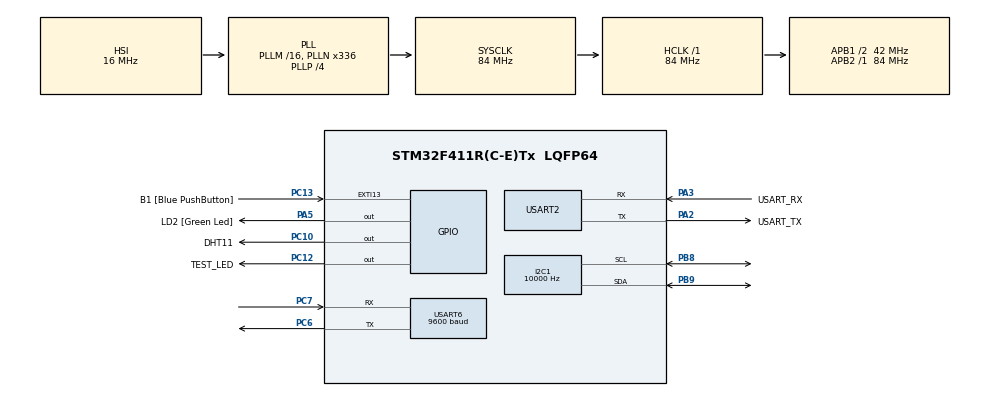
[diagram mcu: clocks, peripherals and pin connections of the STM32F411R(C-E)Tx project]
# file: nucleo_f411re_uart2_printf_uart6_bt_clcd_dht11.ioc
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I2C1.ClockSpeed=10000
Mcu.Family=STM32F4
Mcu.Name=STM32F411R(C-E)Tx
Mcu.Package=LQFP64
NVIC.PriorityGroup=NVIC_PRIORITYGROUP_0
NVIC.USART2_IRQn=true\:0\:0\:false\:false\:true\:true\:true\:true
NVIC.USART6_IRQn=true\:0\:0\:false\:false\:true\:true\:true\:true
PA13.GPIO_Label=TMS
PA13.Mode=Serial_Wire
PA13.Signal=SYS_JTMS-SWDIO
PA14.GPIO_Label=TCK
PA14.Mode=Serial_Wire
PA14.Signal=SYS_JTCK-SWCLK
PA2.GPIO_Label=USART_TX
PA2.Mode=Asynchronous
PA2.Signal=USART2_TX
PA3.GPIO_Label=USART_RX
PA3.Mode=Asynchronous
PA3.Signal=USART2_RX
PA5.GPIO_Label=LD2 [Green Led]
PA5.Signal=GPIO_Output
PB3.GPIO_Label=SWO
PB3.Signal=SYS_JTDO-SWO
PB8.Mode=I2C
PB8.Signal=I2C1_SCL
PB9.Mode=I2C
PB9.Signal=I2C1_SDA
PC10.GPIO_Label=DHT11
PC10.Signal=GPIO_Output
PC12.GPIO_Label=TEST_LED
PC12.Signal=GPIO_Output
PC13-ANTI_TAMP.GPIO_Label=B1 [Blue PushButton]
PC13-ANTI_TAMP.GPIO_ModeDefaultEXTI=GPIO_MODE_IT_FALLING
PC13-ANTI_TAMP.Signal=GPXTI13
PC14-OSC32_IN.Signal=RCC_OSC32_IN
PC15-OSC32_OUT.Signal=RCC_OSC32_OUT
PC6.Mode=Asynchronous
PC6.Signal=USART6_TX
PC7.Mode=Asynchronous
PC7.Signal=USART6_RX
PH0\ -\ OSC_IN.Signal=RCC_OSC_IN
PH1\ -\ OSC_OUT.Signal=RCC_OSC_OUT
ProjectManager.HeapSize=0x200
ProjectManager.StackSize=0x400
ProjectManager.TargetToolchain=STM32CubeIDE
RCC.48MHZClocksFreq_Value=84000000
RCC.AHBFreq_Value=84000000
RCC.APB1CLKDivider=RCC_HCLK_DIV2
RCC.APB1Freq_Value=42000000
RCC.APB1TimFreq_Value=84000000
RCC.APB2Freq_Value=84000000
RCC.APB2TimFreq_Value=84000000
RCC.CortexFreq_Value=84000000
RCC.FLatency-AdvancedSettings=FLASH_LATENCY_2
RCC.HCLKFreq_Value=84000000
RCC.HSE_VALUE=8000000
RCC.HSI_VALUE=16000000
RCC.LSE_VALUE=32768
RCC.PLLN=336
RCC.PLLP=RCC_PLLP_DIV4
RCC.SYSCLKFreq_VALUE=84000000
RCC.SYSCLKSource=RCC_SYSCLKSOURCE_PLLCLK
RCC.VCOOutputFreq_Value=336000000
TIM3.Period=1000-1
TIM3.Prescaler=84-1
USART2.VirtualMode=VM_ASYNC
USART6.BaudRate=9600
USART6.VirtualMode=VM_ASYNC
VP_TIM3_VS_ClockSourceINT.Mode=Internal
board=NUCLEO-F411RE

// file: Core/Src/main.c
/* USER CODE BEGIN Header */
/**
  ******************************************************************************
  * @file           : main.c
  * @brief          : Main program body
  ******************************************************************************
  * @attention
  *
  * Copyright (c) 2024 STMicroelectronics.
  * All rights reserved.
  *
  * This software is licensed under terms that can be found in the LICENSE file
  * in the root directory of this software component.
  * If no LICENSE file comes with this software, it is provided AS-IS.
  *
  ******************************************************************************
  */
/* USER CODE END Header */
#include "main.h"

/* USER CODE BEGIN Includes */
#include <stdio.h>
#include <string.h>
#include "dht.h"
#include "clcd.h"
/* USER CODE END Includes */

/* USER CODE BEGIN PD */
#ifdef __GNUC__
/* With GCC, small printf (option LD Linker->Libraries->Small printf
   set to 'Yes') calls __io_putchar() */
#define PUTCHAR_PROTOTYPE int __io_putchar(int ch)
#else
#define PUTCHAR_PROTOTYPE int fputc(int ch, FILE *f)
#endif /* __GNUC__ */
#define ARR_CNT 5
#define CMD_SIZE 50
/* USER CODE END PD */

I2C_HandleTypeDef hi2c1;

TIM_HandleTypeDef htim3;

UART_HandleTypeDef huart2;
UART_HandleTypeDef huart6;

/* USER CODE BEGIN PV */
uint8_t rx2char;
volatile unsigned char rx2Flag = 0;
volatile char rx2Data[50];
volatile unsigned char btFlag = 0;
uint8_t btchar;
char btData[50];

volatile int time3SecFlag = 0;
volatile unsigned int time3SecCnt;
volatile unsigned int time3Cnt = 0;
volatile int time3CntFlag = 1;
/* USER CODE END PV */

void SystemClock_Config(void);
static void MX_GPIO_Init(void);
static void MX_USART2_UART_Init(void);
static void MX_USART6_UART_Init(void);
static void MX_I2C1_Init(void);
static void MX_TIM3_Init(void);
/* USER CODE BEGIN PFP */
void bluetooth_Event();
/* USER CODE END PFP */

int main(void)
{

  /* MCU Configuration--------------------------------------------------------*/

  /* Reset of all peripherals, Initializes the Flash interface and the Systick. */
  HAL_Init();

  /* Configure the system clock */
  SystemClock_Config();

  /* Initialize all configured peripherals */
  MX_GPIO_Init();
  MX_USART2_UART_Init();
  MX_USART6_UART_Init();
  MX_I2C1_Init();
  MX_TIM3_Init();
  /* USER CODE BEGIN 2 */
  HAL_UART_Receive_IT(&huart2, &rx2char,1);
  HAL_UART_Receive_IT(&huart6, &btchar,1);
  DHT11_Init();
  LCD_init(&hi2c1);

  DHT11_TypeDef dht11Data;
  char buff[30];

  printf("start main() dht\r\n");
  LCD_writeStringXY(0, 0, "hello lcd");

//  char buf[10] = "Hello\r";

  if(HAL_TIM_Base_Start_IT(&htim3) != HAL_OK)
	  Error_Handler();

  /* USER CODE END 2 */

  /* Infinite loop */
  /* USER CODE BEGIN WHILE */
  while (1)
  {
	  if(rx2Flag)
	  {
			printf("recv2 : %s\r\n",rx2Data);
			rx2Flag =0;
	//	    HAL_UART_Transmit(&huart6, (uint8_t *)buf, strlen(buf), 0xFFFF);
	  }
	  if(btFlag)
	  {
//		printf("bt : %s\r\n",btData);
			btFlag =0;
			bluetooth_Event();
	  }
#if 1
	  dht11Data = DHT11_readData();
	  sprintf(buff,"h: %d%% t: %d.%d'C", dht11Data.rh_byte1, dht11Data.temp_byte1, dht11Data.temp_byte2);
	  printf("%s\r\n", buff);
	  LCD_writeStringXY(1, 0, buff);
	  HAL_Delay(2000);
#endif

#if 0 //타이머 이용. 1초 마다
	  if(time3CntFlag && !(time3Cnt % 1000)) 	//1000ms 마다
	  {
//		  HAL_GPIO_TogglePin(LD2_GPIO_Port, LD2_Pin);
		  time3SecFlag = 0;
		  printf("time3SecCnt : %d \r\n", time3SecCnt);

		  dht11Data = DHT11_readData();
		  sprintf(buff,"h: %d%% t: %d.%d'C", dht11Data.rh_byte1, dht11Data.temp_byte1, dht11Data.temp_byte2);
		  printf("%s\r\n", buff);
		  LCD_writeStringXY(1, 0, buff);
		  HAL_Delay(2000);
	  }
#endif

//	  HAL_GPIO_TogglePin(GPIOC, GPIO_PIN_13);
//	  HAL_Delay(500);

    /* USER CODE END WHILE */

  }
}

void SystemClock_Config(void)
{
  RCC_OscInitTypeDef RCC_OscInitStruct = {0};
  RCC_ClkInitTypeDef RCC_ClkInitStruct = {0};

  /** Configure the main internal regulator output voltage
  */
  __HAL_RCC_PWR_CLK_ENABLE();
  __HAL_PWR_VOLTAGESCALING_CONFIG(PWR_REGULATOR_VOLTAGE_SCALE1);

  /** Initializes the RCC Oscillators according to the specified parameters
  * in the RCC_OscInitTypeDef structure.
  */
  RCC_OscInitStruct.OscillatorType = RCC_OSCILLATORTYPE_HSI;
  RCC_OscInitStruct.HSIState = RCC_HSI_ON;
  RCC_OscInitStruct.HSICalibrationValue = RCC_HSICALIBRATION_DEFAULT;
  RCC_OscInitStruct.PLL.PLLState = RCC_PLL_ON;
  RCC_OscInitStruct.PLL.PLLSource = RCC_PLLSOURCE_HSI;
  RCC_OscInitStruct.PLL.PLLM = 16;
  RCC_OscInitStruct.PLL.PLLN = 336;
  RCC_OscInitStruct.PLL.PLLP = RCC_PLLP_DIV4;
  RCC_OscInitStruct.PLL.PLLQ = 4;
  if (HAL_RCC_OscConfig(&RCC_OscInitStruct) != HAL_OK)
  {
    Error_Handler();
  }

  /** Initializes the CPU, AHB and APB buses clocks
  */
  RCC_ClkInitStruct.ClockType = RCC_CLOCKTYPE_HCLK|RCC_CLOCKTYPE_SYSCLK
                              |RCC_CLOCKTYPE_PCLK1|RCC_CLOCKTYPE_PCLK2;
  RCC_ClkInitStruct.SYSCLKSource = RCC_SYSCLKSOURCE_PLLCLK;
  RCC_ClkInitStruct.AHBCLKDivider = RCC_SYSCLK_DIV1;
  RCC_ClkInitStruct.APB1CLKDivider = RCC_HCLK_DIV2;
  RCC_ClkInitStruct.APB2CLKDivider = RCC_HCLK_DIV1;

  if (HAL_RCC_ClockConfig(&RCC_ClkInitStruct, FLASH_LATENCY_2) != HAL_OK)
  {
    Error_Handler();
  }
}

static void MX_I2C1_Init(void)
{

  hi2c1.Instance = I2C1;
  hi2c1.Init.ClockSpeed = 10000;
  hi2c1.Init.DutyCycle = I2C_DUTYCYCLE_2;
  hi2c1.Init.OwnAddress1 = 0;
  hi2c1.Init.AddressingMode = I2C_ADDRESSINGMODE_7BIT;
  hi2c1.Init.DualAddressMode = I2C_DUALADDRESS_DISABLE;
  hi2c1.Init.OwnAddress2 = 0;
  hi2c1.Init.GeneralCallMode = I2C_GENERALCALL_DISABLE;
  hi2c1.Init.NoStretchMode = I2C_NOSTRETCH_DISABLE;
  if (HAL_I2C_Init(&hi2c1) != HAL_OK)
  {
    Error_Handler();
  }

}

static void MX_TIM3_Init(void)
{

  TIM_ClockConfigTypeDef sClockSourceConfig = {0};
  TIM_MasterConfigTypeDef sMasterConfig = {0};

  htim3.Instance = TIM3;
  htim3.Init.Prescaler = 84-1;
  htim3.Init.CounterMode = TIM_COUNTERMODE_UP;
  htim3.Init.Period = 1000-1;
  htim3.Init.ClockDivision = TIM_CLOCKDIVISION_DIV1;
  htim3.Init.AutoReloadPreload = TIM_AUTORELOAD_PRELOAD_DISABLE;
  if (HAL_TIM_Base_Init(&htim3) != HAL_OK)
  {
    Error_Handler();
  }
  sClockSourceConfig.ClockSource = TIM_CLOCKSOURCE_INTERNAL;
  if (HAL_TIM_ConfigClockSource(&htim3, &sClockSourceConfig) != HAL_OK)
  {
    Error_Handler();
  }
  sMasterConfig.MasterOutputTrigger = TIM_TRGO_RESET;
  sMasterConfig.MasterSlaveMode = TIM_MASTERSLAVEMODE_DISABLE;
  if (HAL_TIMEx_MasterConfigSynchronization(&htim3, &sMasterConfig) != HAL_OK)
  {
    Error_Handler();
  }

}

static void MX_USART2_UART_Init(void)
{

  huart2.Instance = USART2;
  huart2.Init.BaudRate = 115200;
  huart2.Init.WordLength = UART_WORDLENGTH_8B;
  huart2.Init.StopBits = UART_STOPBITS_1;
  huart2.Init.Parity = UART_PARITY_NONE;
  huart2.Init.Mode = UART_MODE_TX_RX;
  huart2.Init.HwFlowCtl = UART_HWCONTROL_NONE;
  huart2.Init.OverSampling = UART_OVERSAMPLING_16;
  if (HAL_UART_Init(&huart2) != HAL_OK)
  {
    Error_Handler();
  }

}

static void MX_USART6_UART_Init(void)
{

  huart6.Instance = USART6;
  huart6.Init.BaudRate = 9600;
  huart6.Init.WordLength = UART_WORDLENGTH_8B;
  huart6.Init.StopBits = UART_STOPBITS_1;
  huart6.Init.Parity = UART_PARITY_NONE;
  huart6.Init.Mode = UART_MODE_TX_RX;
  huart6.Init.HwFlowCtl = UART_HWCONTROL_NONE;
  huart6.Init.OverSampling = UART_OVERSAMPLING_16;
  if (HAL_UART_Init(&huart6) != HAL_OK)
  {
    Error_Handler();
  }

}

static void MX_GPIO_Init(void)
{
  GPIO_InitTypeDef GPIO_InitStruct = {0};

  /* GPIO Ports Clock Enable */
  __HAL_RCC_GPIOC_CLK_ENABLE();
  __HAL_RCC_GPIOH_CLK_ENABLE();
  __HAL_RCC_GPIOA_CLK_ENABLE();
  __HAL_RCC_GPIOB_CLK_ENABLE();

  /*Configure GPIO pin Output Level */
  HAL_GPIO_WritePin(LD2_GPIO_Port, LD2_Pin, GPIO_PIN_RESET);

  /*Configure GPIO pin Output Level */
  HAL_GPIO_WritePin(GPIOC, DHT11_Pin|TEST_LED_Pin, GPIO_PIN_RESET);

  /*Configure GPIO pin : B1_Pin */
  GPIO_InitStruct.Pin = B1_Pin;
  GPIO_InitStruct.Mode = GPIO_MODE_IT_FALLING;
  GPIO_InitStruct.Pull = GPIO_NOPULL;
  HAL_GPIO_Init(B1_GPIO_Port, &GPIO_InitStruct);

  /*Configure GPIO pin : LD2_Pin */
  GPIO_InitStruct.Pin = LD2_Pin;
  GPIO_InitStruct.Mode = GPIO_MODE_OUTPUT_PP;
  GPIO_InitStruct.Pull = GPIO_NOPULL;
  GPIO_InitStruct.Speed = GPIO_SPEED_FREQ_LOW;
  HAL_GPIO_Init(LD2_GPIO_Port, &GPIO_InitStruct);

  /*Configure GPIO pins : DHT11_Pin TEST_LED_Pin */
  GPIO_InitStruct.Pin = DHT11_Pin|TEST_LED_Pin;
  GPIO_InitStruct.Mode = GPIO_MODE_OUTPUT_PP;
  GPIO_InitStruct.Pull = GPIO_NOPULL;
  GPIO_InitStruct.Speed = GPIO_SPEED_FREQ_LOW;
  HAL_GPIO_Init(GPIOC, &GPIO_InitStruct);

}

/* USER CODE BEGIN 4 */
void MX_GPIO_LED_ON(int pin)
{
	HAL_GPIO_WritePin(LD2_GPIO_Port, pin, GPIO_PIN_SET);
}
void MX_GPIO_LED_OFF(int pin)
{
	HAL_GPIO_WritePin(LD2_GPIO_Port, pin, GPIO_PIN_RESET);
}
void MX_GPIO_TEST_LED_ON(int pin)
{
	HAL_GPIO_WritePin(TEST_LED_GPIO_Port, pin, GPIO_PIN_SET);
}
void MX_GPIO_TEST_LED_OFF(int pin)
{
	HAL_GPIO_WritePin(TEST_LED_GPIO_Port, pin, GPIO_PIN_RESET);
}
void bluetooth_Event()
{

  int i=0;
  char * pToken;
  char * pArray[ARR_CNT]={0};
  char recvBuf[CMD_SIZE]={0};
  char sendBuf[CMD_SIZE]={0};
  strcpy(recvBuf,btData);

  printf("btData : %s\r\n",btData);

  pToken = strtok(recvBuf,"[@]");
  while(pToken != NULL)
  {
    pArray[i] =  pToken;
    if(++i >= ARR_CNT)
      break;
    pToken = strtok(NULL,"[@]");
  }
//  printf("pArray[0] : %s\r\n",pArray[0]);
//  printf("pArray[1] : %s\r\n",pArray[1]);
//  printf("pArray[2] : %s\r\n",pArray[2]);

  if(!strcmp(pArray[1],"LED"))
  {
		if(!strcmp(pArray[2],"ON"))
		{
			MX_GPIO_LED_ON(LD2_Pin);
		}
		else if(!strcmp(pArray[2],"OFF"))
		{
			MX_GPIO_LED_OFF(LD2_Pin);
		}
  }
  else if(!strcmp(pArray[1],"LAMP"))
  {
		if(!strcmp(pArray[2],"ON"))
		{
			MX_GPIO_TEST_LED_ON(TEST_LED_Pin);	//PC12 High
		}
		else if(!strcmp(pArray[2],"OFF"))
		{
			MX_GPIO_TEST_LED_OFF(TEST_LED_Pin);	//PC12 Low
		}
  }
  else if(!strncmp(pArray[1]," New conn",sizeof(" New conn")))
  {
      return;
  }
  else if(!strncmp(pArray[1]," Already log",sizeof(" Already log")))
  {
      return;
  }
  else
      return;

  sprintf(sendBuf,"[%s]%s@%s\n",pArray[0],pArray[1],pArray[2]);
  HAL_UART_Transmit(&huart6, (uint8_t *)sendBuf, strlen(sendBuf), 0xFFFF);

}
/**
  * @brief  Retargets the C library printf function to the USART.
  * @param  None
  * @retval None
  */
PUTCHAR_PROTOTYPE
{
  /* Place your implementation of fputc here */
  /* e.g. write a character to the USART6 and Loop until the end of transmission */
  HAL_UART_Transmit(&huart2, (uint8_t *)&ch, 1, 0xFFFF);

  return ch;
}
void HAL_UART_RxCpltCallback(UART_HandleTypeDef *huart)
{
    if(huart->Instance == USART2)
    {
    	static int i=0;
    	rx2Data[i] = rx2char;
    	if((rx2Data[i] == '\r')||(btData[i] == '\n'))
    	{
    		rx2Data[i] = '\0';
    		rx2Flag = 1;
    		i = 0;
    	}
    	else
    	{
    		i++;
    	}
    	HAL_UART_Receive_IT(&huart2, &rx2char,1);
    }
    if(huart->Instance == USART6)
    {
    	static int i=0;
    	btData[i] = btchar;
    	if((btData[i] == '\n') || btData[i] == '\r')
    	{
    		btData[i] = '\0';
    		btFlag = 1;
    		i = 0;
    	}
    	else
    	{
    		i++;
    	}
    	HAL_UART_Receive_IT(&huart6, &btchar,1);
    }
}

void HAL_TIM_PeriodElapsedCallback(TIM_HandleTypeDef * htim)
{
	static unsigned long time3Cnt = 0;
	time3Cnt++;			  //1ms
	time3CntFlag = 1;
	if(time3Cnt >= 1000)  //1ms * 1000 = 1sec
	{
		time3SecFlag = 1;
		time3SecCnt++;
		time3Cnt = 0;		//1ms
	}
}

/* USER CODE END 4 */

void Error_Handler(void)
{
  __disable_irq();
  while (1)
  {
  }
}
